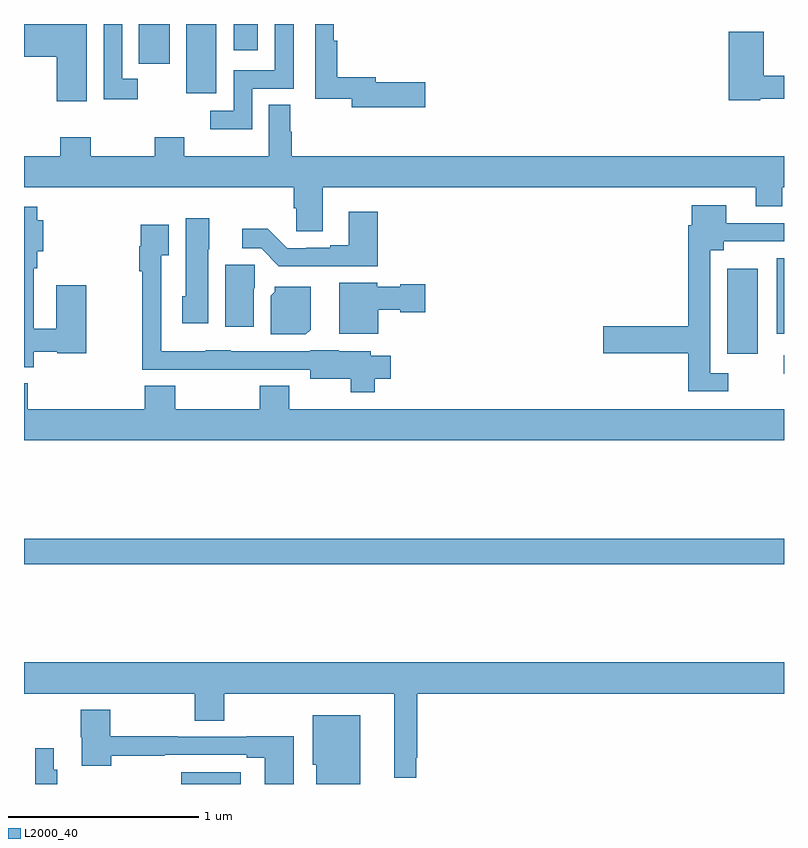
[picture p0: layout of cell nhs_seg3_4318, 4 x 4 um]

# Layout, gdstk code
import gdstk
lib = gdstk.Library(unit=1e-6, precision=1e-09)
def R(c, l, rs):  # rectangles x0, y0, x1, y1
    for r in rs: c.add(gdstk.rectangle(r[:2], r[2:], *l))
def P(c, l, *ps):  # polygons
    for p in ps: c.add(gdstk.Polygon(p, *l))
L2000_40 = (2000, 40)

nhs_seg3_4318 = lib.new_cell('nhs_seg3_4318')
R(nhs_seg3_4318, L2000_40, [(339.828,740.4,340.14,740.463), (339,741.556,343,741.692), (342.999,742.56,343,742.656), (342.701,742.665,342.862,743.113), (342.962,742.769,343,743.167), (339.854,744.036,340.012,744.4), (339.605,744.192,339.766,744.4), (340.104,744.261,340.231,744.4)])
P(nhs_seg3_4318, L2000_40, [(339.598,744.111),(339.516,744.111),(339.516,744.4),(339.42,744.4),(339.42,744.003),(339.598,744.003)],
  [(340.2,744.06),(340.42,744.06),(340.42,744.4),(340.319,744.4),(340.319,744.156),(340.104,744.156),(340.104,743.943),(339.981,743.943),(339.981,743.846),(340.2,743.846)],
  [(341.113,744.093),(340.852,744.093),(340.852,744.119),(340.649,744.119),(340.649,744.311),(340.629,744.311),(340.629,744.4),(340.533,744.4),(340.533,744.006),(340.724,744.006),(340.724,743.963),(341.113,743.963)],
  [(339.331,744.4),(339,744.4),(339,744.227),(339.173,744.227),(339.173,743.994),(339.331,743.994)],
  [(342.876,744.006),(343,744.006),(343,744.127),(342.893,744.127),(342.893,744.358),(342.71,744.358),(342.71,743.998),(342.876,743.998)],
  [(340.573,743.54),(342.851,743.54),(342.851,743.441),(342.991,743.441),(342.991,743.54),(343,743.54),(343,743.704),(340.408,743.704),(340.408,743.832),(340.4,743.832),(340.4,743.975),(340.289,743.975),(340.289,743.704),(339.843,743.704),(339.843,743.803),(339.688,743.803),(339.688,743.704),(339.351,743.704),(339.351,743.803),(339.191,743.803),(339.191,743.704),(339,743.704),(339,743.54),(340.421,743.54),(340.421,743.43),(340.434,743.43),(340.434,743.308),(340.573,743.308)],
  [(342.706,742.563),(342.612,742.563),(342.612,743.21),(342.682,743.21),(342.682,743.256),(343,743.256),(343,743.352),(342.697,743.352),(342.697,743.446),(342.515,743.446),(342.515,743.342),(342.496,743.342),(342.496,742.808),(342.048,742.808),(342.048,742.666),(342.496,742.666),(342.496,742.467),(342.706,742.467)],
  [(339.051,742.674),(339.174,742.674),(339.174,742.666),(339.328,742.666),(339.328,743.026),(339.17,743.026),(339.17,742.795),(339.051,742.795),(339.051,743.114),(339.071,743.114),(339.071,743.203),(339.101,743.203),(339.101,743.368),(339.071,743.368),(339.071,743.437),(339,743.437),(339,742.593),(339.051,742.593)],
  [(340.862,743.413),(340.709,743.413),(340.709,743.236),(340.613,743.236),(340.613,743.223),(340.486,743.223),(340.486,743.22),(340.386,743.22),(340.284,743.323),(340.149,743.323),(340.149,743.22),(340.248,743.22),(340.342,743.126),(340.862,743.126)],
  [(339.97,743.214),(339.976,743.214),(339.976,743.377),(339.851,743.377),(339.851,742.968),(339.833,742.968),(339.833,742.824),(339.97,742.824)],
  [(340.847,742.532),(340.93,742.532),(340.93,742.654),(340.824,742.654),(340.824,742.678),(340.656,742.678),(340.656,742.684),(340.506,742.684),(340.506,742.677),(340.089,742.677),(340.089,742.684),(339.957,742.684),(339.957,742.678),(339.723,742.678),(339.723,743.183),(339.763,743.183),(339.763,743.344),(339.615,743.344),(339.615,743.231),(339.607,743.231),(339.607,743.099),(339.622,743.099),(339.622,742.581),(339.857,742.581),(339.857,742.58),(340.089,742.58),(340.089,742.581),(340.506,742.581),(340.506,742.532),(340.719,742.532),(340.719,742.463),(340.847,742.463)],
  [(340.21,743.01),(340.214,743.01),(340.214,743.133),(340.058,743.133),(340.058,742.806),(340.21,742.806)],
  [(340.864,742.895),(340.98,742.895),(340.98,742.883),(341.113,742.883),(341.113,743.03),(340.98,743.03),(340.98,743.017),(340.86,743.017),(340.86,743.038),(340.658,743.038),(340.658,742.769),(340.864,742.769)],
  [(340.51,742.792),(340.51,743.017),(340.32,743.017),(340.32,742.992),(340.298,742.97),(340.298,742.766),(340.484,742.766)],
  [(343,742.372),(340.395,742.372),(340.395,742.496),(340.24,742.496),(340.24,742.372),(339.795,742.372),(339.795,742.496),(339.635,742.496),(339.635,742.372),(339.02,742.372),(339.02,742.508),(339,742.508),(339,742.208),(343,742.208)],
  [(341.064,740.539),(341.071,740.539),(341.071,740.876),(343,740.876),(343,741.04),(339,741.04),(339,740.876),(339.898,740.876),(339.898,740.734),(340.053,740.734),(340.053,740.876),(340.949,740.876),(340.949,740.432),(341.064,740.432)],
  [(340.42,740.652),(340.172,740.652),(340.172,740.649),(339.809,740.649),(339.809,740.652),(339.453,740.652),(339.453,740.791),(339.298,740.791),(339.298,740.646),(339.305,740.646),(339.305,740.496),(339.458,740.496),(339.458,740.548),(339.74,740.548),(339.74,740.553),(340.172,740.553),(340.172,740.537),(340.268,740.537),(340.268,740.4),(340.42,740.4)],
  [(340.771,740.761),(340.52,740.761),(340.52,740.502),(340.538,740.502),(340.538,740.4),(340.771,740.4)],
  [(339.176,740.474),(339.157,740.474),(339.157,740.587),(339.059,740.587),(339.059,740.4),(339.176,740.4)])

lib.write_gds('nhs_seg3_4318.gds')
